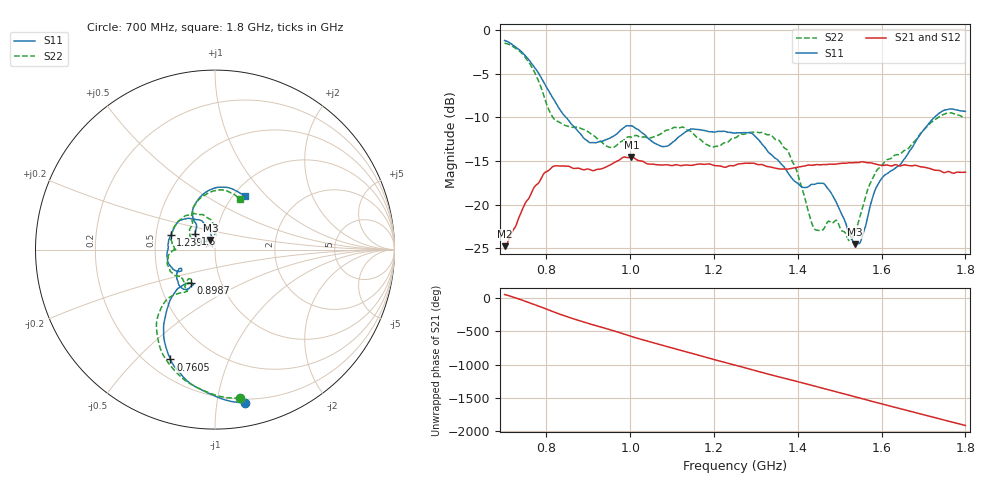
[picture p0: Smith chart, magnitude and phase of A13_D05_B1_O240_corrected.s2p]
! Created with skrf 1.9.0 (http://scikit-rf.org).
# Hz S RI R 50.0
!freq ReS11 ImS11 ReS21 ImS21 ReS12 ImS12 ReS22 ImS22
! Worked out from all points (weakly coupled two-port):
!   1601 points, 700 MHz to 1.8 GHz, reference 50 ohm
!   highest |S21| = -14.54 dB at 1.002 GHz (marker M1); lowest = -24.7 dB at 700.7 MHz (marker M2)
!   lowest |S11| = -24.5 dB at 1.537 GHz (marker M3), VSWR 1.13, Z = 47.2 + j5.1 ohm
!   |S11| at or under -10 dB: 846.6 MHz to 1.726 GHz (879.4 MHz wide, 68.4 % of centre)
!   |S22| runs from -24.2 to -1.5 dB; largest |S21 - S12| = 0.0035
!   S11 on the Smith chart (normalised r, x): 700 MHz: 0.17, -1.20; 760.5 MHz: 0.29, -0.63; 898.7 MHz: 0.71, -0.28; 1.239 GHz: 0.60, +0.11; 1.6 GHz: 0.79, +0.14; 1.8 GHz: 1.12, +0.76
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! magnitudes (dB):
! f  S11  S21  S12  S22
! 700 MHz  -1.2  -24.7  -24.5  -1.5
! 700.7 MHz  -1.2  -24.7  -24.4  -1.5
! 760.5 MHz  -3.6  -19.0  -18.9  -3.9
! 816.9 MHz  -7.9  -15.6  -15.7  -10.1
! 883.6 MHz  -12.0  -15.9  -15.8  -11.3
! 898.7 MHz  -12.7  -15.9  -16.0  -11.6
! 953.7 MHz  -12.3  -15.4  -15.4  -13.5
! 1.002 GHz  -11.0  -14.5  -14.6  -12.3
! 1.067 GHz  -13.2  -15.4  -15.4  -12.0
! 1.239 GHz  -11.7  -15.5  -15.6  -12.6
! 1.25 GHz  -11.8  -15.5  -15.4  -12.3
! 1.292 GHz  -11.9  -15.2  -15.3  -11.7
! 1.357 GHz  -15.1  -15.9  -15.9  -12.7
! 1.395 GHz  -17.4  -15.8  -15.7  -15.8
! 1.434 GHz  -17.7  -15.5  -15.5  -22.2
! 1.475 GHz  -18.3  -15.4  -15.4  -21.9
! 1.537 GHz  -24.5  -15.2  -15.2  -23.2
! 1.57 GHz  -20.6  -15.2  -15.2  -17.8
! 1.6 GHz  -17.0  -15.5  -15.5  -15.6
! 1.617 GHz  -16.3  -15.5  -15.5  -14.8
! 1.734 GHz  -9.6  -16.1  -16.1  -10.0
! 1.8 GHz  -9.3  -16.3  -16.3  -10.1
